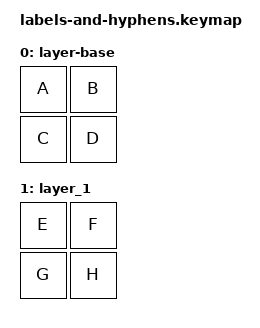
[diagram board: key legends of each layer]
/*
 * Hard .keymap corpus: raise: layer_1, layer-base, and a labeled combo node.
 * Covers R2-4 (DTS child labels and hyphenated names).
 */

#include <behaviors.dtsi>
#include <dt-bindings/zmk/keys.h>

/ {
    combos {
        compatible = "zmk,combos";
        esc: combo_esc {
            bindings = <&kp ESC>;
            key-positions = <0 1>;
        };
    };

    keymap {
        compatible = "zmk,keymap";

        layer-base {
            bindings = <
&kp A &kp B
&kp C &kp D
            >;
        };

        raise: layer_1 {
            bindings = <
&kp E &kp F
&kp G &kp H
            >;
        };
    };
};
